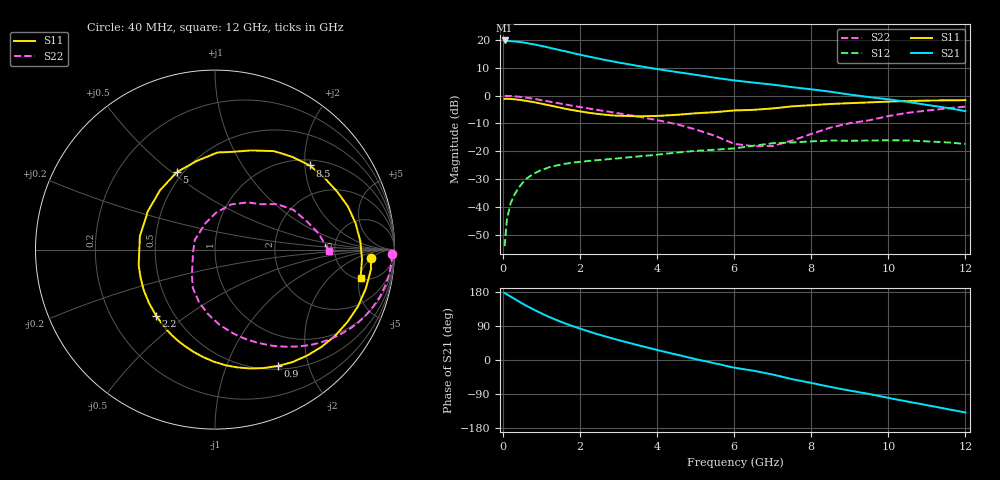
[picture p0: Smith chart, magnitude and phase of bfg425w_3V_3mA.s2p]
! Filename: 33bfg425.001
! BFG425W Field C1
! V1=8.136E-001V,V2=3.000E+000V, I1=3.574E-005A, I2=3.000E-003A
# GHz  S  MA  R 50
!  S11  S21  S12  S22
!Freq(GHz)  Mag  Ang  Mag  Ang  Mag  Ang  Mag  Ang
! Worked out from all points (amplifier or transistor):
!   44 points, 40 MHz to 12 GHz, reference 50 ohm
!   highest |S21| = 19.7 dB at 40 MHz (marker M1)
!   |S21| within 3 dB of that: start of sweep to 1.329 GHz
!   unconditionally stable (mu >= 1): 2.826 GHz to end of sweep
!   at 700 MHz: K = 0.24, MSG = 23.7 dB, |S12| = -28.9 dB
!   at 2.4 GHz: K = 0.84, MSG = 18.3 dB, |S12| = -23.2 dB
!   at 12 GHz: K = 1.63, MAG = 1.2 dB, |S12| = -17.3 dB
!   S11 on the Smith chart (normalised r, x): 40 MHz: 12, -5; 900 MHz: 0.54, -1.54; 2.2 GHz: 0.40, -0.39; 5 GHz: 0.46, +0.52; 8.5 GHz: 1.13, +2.12; 12 GHz: 5.23, -5.20
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0.04  0.87 -3.2  9.707 176.7  0.002 71.5  0.986 -1.6
0.1  0.876 -7.2  9.497 173.3  0.006 84.3  0.986 -4.1
0.2  0.868 -14.4  9.419 167.0  0.012 79.6  0.98 -8.2
0.3  0.857 -21.6  9.303 161.3  0.017 75.7  0.969 -12.2
0.5  0.824 -35.5  9.004 149.0  0.027 67.3  0.937 -19.9
0.7  0.783 -48.8  8.485 138.1  0.036 59.6  0.896 -26.9
0.9  0.737 -61.6  8.004 127.7  0.043 52.8  0.849 -33.3
1.2  0.667 -79.5  7.201 113.5  0.052 44.2  0.781 -41.7
1.5  0.603 -96.1  6.461 101.0  0.058 37.2  0.715 -48.9
1.8  0.549 -111.9  5.795 89.6  0.063 31.7  0.657 -55.2
2.2  0.494 -131.5  5.033 76.1  0.067 26.0  0.59 -63.0
2.6  0.457 -150.3  4.414 63.8  0.071 21.8  0.532 -70.3
3  0.434 -168.5  3.908 52.4  0.075 18.2  0.48 -77.4
3.5  0.425 170.0  3.398 39.1  0.081 14.3  0.42 -86.5
4.5  0.451 132.6  2.644 14.3  0.095 5.7  0.307 -106.8
5  0.481 116.2  2.353 2.3  0.102 -0.4  0.247 -120.0
6  0.541 88.6  1.865 -20.3  0.113 -12.3  0.136 -155.9
6.5  0.554 79.5  1.705 -28.3  0.126 -12.0  0.124 -171.9
7.5  0.64 59.0  1.416 -50.5  0.144 -30.3  0.156 109.9
8.5  0.706 41.6  1.17 -71.1  0.156 -46.6  0.267 70.5
10.5  0.797 10.6  0.77 -109.8  0.157 -81.6  0.49 26.8
12  0.826 -11.0  0.526 -138.5  0.136 -112.9  0.633 -0.6
